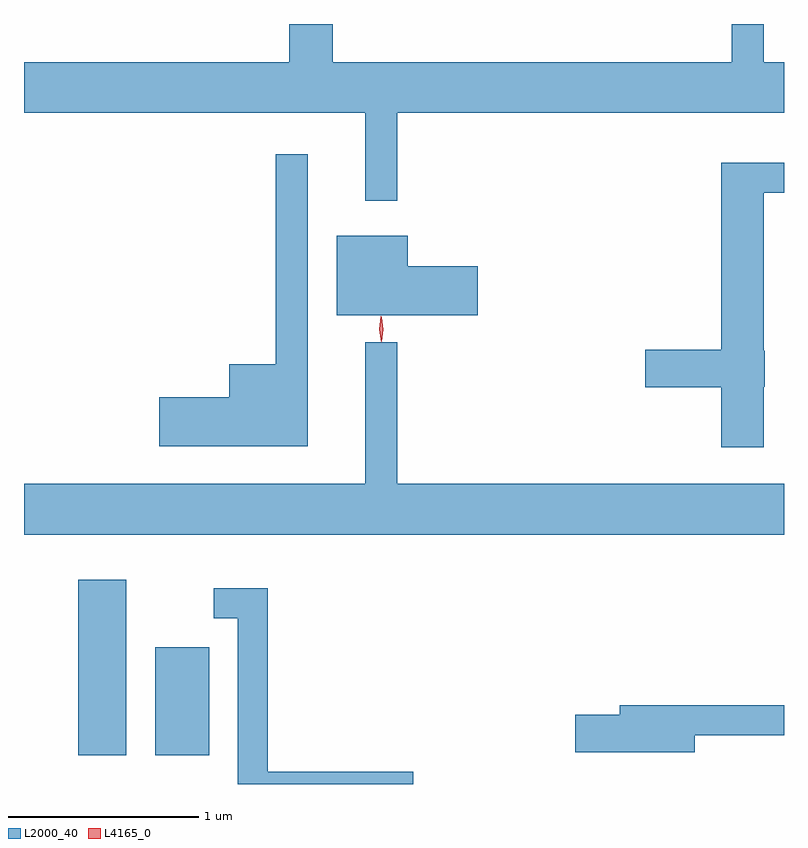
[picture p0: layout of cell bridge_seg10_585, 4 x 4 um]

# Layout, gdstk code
import gdstk
lib = gdstk.Library(unit=1e-6, precision=1e-09)
def R(c, l, rs):  # rectangles x0, y0, x1, y1
    for r in rs: c.add(gdstk.rectangle(r[:2], r[2:], *l))
def P(c, l, *ps):  # polygons
    for p in ps: c.add(gdstk.Polygon(p, *l))
L2000_40 = (2000, 40)
L4165_0 = (4165, 0)

bridge_seg10_585 = lib.new_cell('bridge_seg10_585')
R(bridge_seg10_585, L2000_40, [(667.011,2143.836,667.264,2144.759), (667.416,2143.836,667.699,2144.404)])
P(bridge_seg10_585, L2000_40, [(668.689,2147.216),(670.725,2147.216),(670.725,2147.484),(670.619,2147.484),(670.619,2147.684),(670.451,2147.684),(670.451,2147.484),(668.349,2147.484),(668.349,2147.684),(668.121,2147.684),(668.121,2147.484),(666.725,2147.484),(666.725,2147.216),(668.521,2147.216),(668.521,2146.753),(668.689,2146.753)],
  [(668.219,2146.998),(668.051,2146.998),(668.051,2145.894),(667.806,2145.894),(667.806,2145.719),(667.436,2145.719),(667.436,2145.461),(668.219,2145.461)],
  [(670.619,2145.775),(670.624,2145.775),(670.624,2145.965),(670.619,2145.965),(670.619,2146.796),(670.725,2146.796),(670.725,2146.954),(670.396,2146.954),(670.396,2145.969),(669.996,2145.969),(669.996,2145.771),(670.396,2145.771),(670.396,2145.456),(670.619,2145.456)],
  [(669.114,2146.409),(668.744,2146.409),(668.744,2146.569),(668.371,2146.569),(668.371,2146.151),(669.114,2146.151)],
  [(670.725,2145.264),(668.689,2145.264),(668.689,2146.008),(668.521,2146.008),(668.521,2145.264),(666.725,2145.264),(666.725,2144.996),(670.725,2144.996)],
  [(668.774,2143.749),(668.009,2143.749),(668.009,2144.714),(667.723,2144.714),(667.723,2144.556),(667.851,2144.556),(667.851,2143.684),(668.774,2143.684)],
  [(670.254,2143.941),(670.725,2143.941),(670.725,2144.099),(669.861,2144.099),(669.861,2144.049),(669.626,2144.049),(669.626,2143.851),(670.254,2143.851)])
P(bridge_seg10_585, L4165_0, [(668.607,2146.013),(668.607,2146.014),(668.597,2146.076),(668.607,2146.14),(668.607,2146.14),(668.608,2146.14),(668.617,2146.076),(668.608,2146.014)],
  [(668.604,2146.01),(668.594,2146.078),(668.603,2146.146),(668.604,2146.146),(668.604,2146.146),(668.614,2146.078),(668.605,2146.01),(668.605,2146.01)])

lib.write_gds('bridge_seg10_585.gds')
